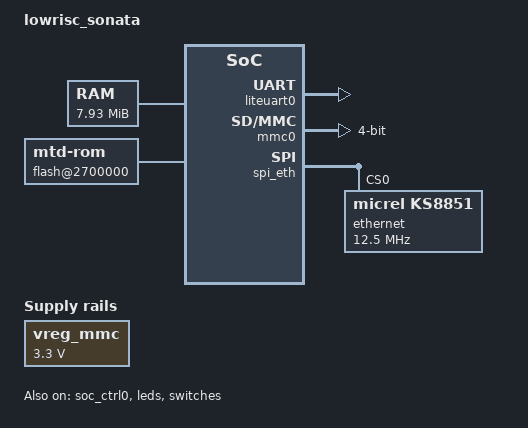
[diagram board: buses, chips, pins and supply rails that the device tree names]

/dts-v1/;

/ {
        compatible = "litex,lowrisc_sonata", "litex,soc";
        model = "lowrisc_sonata";
        #address-cells = <1>;
        #size-cells    = <1>;


        chosen {
            bootargs = "console=liteuart earlycon=liteuart,0xf0001000 root=/dev/mtdblock0 rootfstype=romfs ro init=/sbin/init panic=5 loglevel=4 clk_ignore_unused";
        };

        sys_clk: clock-50000000 {
            compatible = "fixed-clock";
            #clock-cells = <0>;
            clock-frequency  = <50000000>;
        };

        cpus {
            #address-cells = <1>;
            #size-cells    = <0>;
            timebase-frequency = <50000000>;

            CPU0: cpu@0 {
                device_type = "cpu";
                compatible = "riscv";
                riscv,isa-base = "rv32i";
                riscv,isa-extensions = "a", "d", "f", "i", "m", "zicsr", "zifencei";
                mmu-type = "riscv,sv32";
                reg = <0>;
                clock-frequency = <50000000>;
                status = "okay";

                d-cache-size = <8192>;
                d-cache-sets = <64>;
                d-cache-block-size = <64>;

                i-cache-size = <8192>;
                i-cache-sets = <64>;
                i-cache-block-size = <64>;


                tlb-split;
                d-tlb-size = <4>;
                d-tlb-sets = <4>;

                i-tlb-size = <4>;
                i-tlb-sets = <4>;


                L0: interrupt-controller {
                    #address-cells = <0>;
                    #interrupt-cells = <0x00000001>;
                    interrupt-controller;
                    compatible = "riscv,cpu-intc";
                };
            };

            CPU1: cpu@1 {
                device_type = "cpu";
                compatible = "riscv";
                riscv,isa-base = "rv32i";
                riscv,isa-extensions = "a", "d", "f", "i", "m", "zicsr", "zifencei";
                mmu-type = "riscv,sv32";
                reg = <1>;
                clock-frequency = <50000000>;
                status = "okay";

                d-cache-size = <8192>;
                d-cache-sets = <64>;
                d-cache-block-size = <64>;

                i-cache-size = <8192>;
                i-cache-sets = <64>;
                i-cache-block-size = <64>;

                tlb-split;
                d-tlb-size = <4>;
                d-tlb-sets = <4>;

                i-tlb-size = <4>;
                i-tlb-sets = <4>;

                L1: interrupt-controller {
                    #address-cells = <0>;
                    #interrupt-cells = <0x00000001>;
                    interrupt-controller;
                    compatible = "riscv,cpu-intc";
                };
            };

            cpu-map {
                cluster0 {
                    core0 {
                        cpu = <&CPU0>;
                    };
                    core1 {
                        cpu = <&CPU1>;
                    };
                };
            };

        };

        memory: memory@40000000 {
            device_type = "memory";
            reg = <0x40000000 0x7EF000>;
            /* Top 68KB excluded: 4KB PMP guard page at 0x407EF000,
             * then 64KB for OpenSBI RW data at 0x407F0000.
             * OpenSBI runs XIP from flash (.text/.rodata) with only
             * .data/.bss/stacks/heap in RAM (2 harts). */
        };

        vreg_mmc: vreg_mmc {
            compatible = "regulator-fixed";
            regulator-name = "vreg_mmc";
            regulator-min-microvolt = <3300000>;
            regulator-max-microvolt = <3300000>;
            regulator-always-on;
        };

        soc {
            #address-cells = <1>;
            #size-cells    = <1>;
            compatible = "simple-bus";
            interrupt-parent = <&intc0>;
            ranges;

            soc_ctrl0: soc_controller@f0000000 {
                compatible = "litex,soc-controller";
                reg = <0xf0000000 0xc>;
                status = "okay";
            };

            lintc0: clint@f0010000 {
                compatible = "riscv,clint0";
                interrupts-extended = <
                    &L0 3 &L0 7
                    &L1 3 &L1 7>;
                reg = <0xf0010000 0x10000>;
                reg-names = "control";
            };

            intc0: interrupt-controller@f0c00000 {
                compatible = "sifive,fu540-c000-plic", "sifive,plic-1.0.0";
                reg = <0xf0c00000 0x400000>;
                #address-cells = <0>;
                #interrupt-cells = <1>;
                interrupt-controller;
                interrupts-extended = <
                    &L0 11 &L0 9
                    &L1 11 &L1 9>;
                riscv,ndev = <32>;

            };

            liteuart0: serial@f0001000 {
                compatible = "litex,liteuart";
                reg = <0xf0001000 0x100>;
                interrupts = <1>;
                status = "okay";
            };

            flash@2700000 {
                compatible = "mtd-rom";
                reg = <0x02700000 0x900000>;
                bank-width = <1>;
                #address-cells = <1>;
                #size-cells = <1>;
                /* Rootfs starts at flash offset 0x700000, past OpenSBI's
                 * XIP region (0x02600000-0x0264XXXX). */

                rootfs@0 {
                    label = "rootfs";
                    reg = <0x0 0x900000>;
                };
            };

            mmc0: mmc@f0003000 {
                compatible = "litex,mmc";
                reg = <0xf0003000 0x80>;
                clocks = <&sys_clk>;
                bus-width = <0x04>;
                status = "okay";
            };

            spi_eth: spi@80302000 {
                compatible = "lowrisc,opentitan-spi";
                reg = <0x80302000 0x2000>;
                #address-cells = <1>;
                #size-cells = <0>;
                clocks = <&sys_clk>;
                status = "okay";

                ethernet@0 {
                    compatible = "micrel,ks8851";
                    reg = <0>;
                    spi-max-frequency = <12500000>;
                    interrupts = <2>;
                    interrupt-parent = <&intc0>;
                };
            };

            leds: gpio@f0002800 {
                compatible = "litex,gpio";
                reg = <0xf0002800 0x4>;
                gpio-controller;
                #gpio-cells = <2>;
                litex,direction = "out";
                litex,ngpio = <4>;
                status = "okay";
            };

            switches: gpio@f0004000 {
                compatible = "litex,gpio";
                reg = <0xf0004000 0x4>;
                gpio-controller;
                #gpio-cells = <2>;
                litex,direction = "in";
                interrupts = <4>;
                litex,ngpio = <4>;
                status = "okay";
            };

        };

        aliases {
                serial0 = &liteuart0;
        };

};
